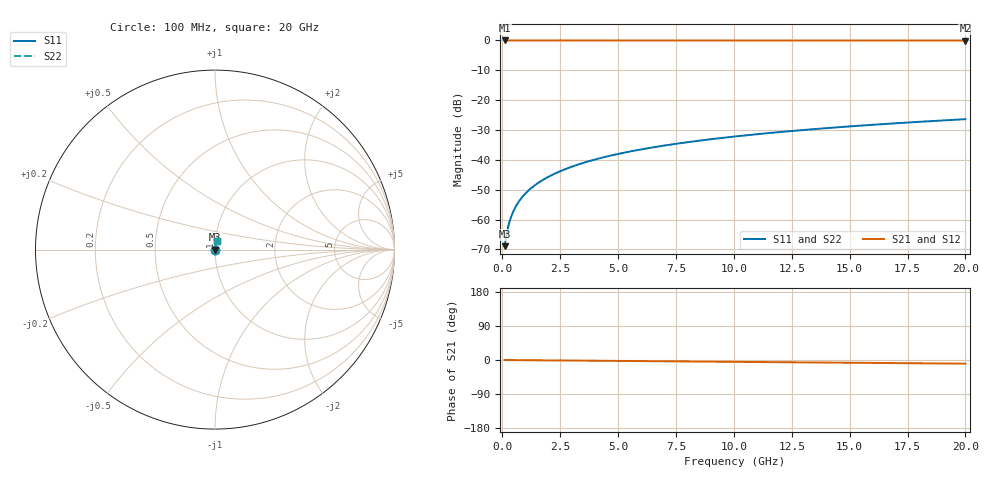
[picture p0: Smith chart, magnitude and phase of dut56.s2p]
! Touchstone file exported from HFSS 2026.1.0
!  File:  C:/ffzhzh/LocalFiles/Ansys_Project_Files/temp_train_TSV_56_1782958895_45748.aedt
!  Generated:  10:23:30 AM Jul  2, 2026
!  Design:  TSV
!  Project:  temp_train_TSV_56_1782958895_45748
! Variables:
!  h_bsmrdl = 2um
!  h_ox = 20um
!  h_rdl = 5um
!  h_sub = 92.37um
!  h_tmrdl = 5um
!  h_tsv = 92.37um
!  h_via = 3um
!  l_bsmrdl = 300um
!  l_sub = 415.48um
!  l_tmrdl = 200um
!  m_sub = 200um
!  pitch = 46.11um
!  r_tsv = 7.74um
!  s_tmrdl = 10um
!  w_bsmrdl = 18um
!  w_sub = 500um
!  w_tmrdl = 12um
!  x_tsv_center1 = 206um
!  x_tsv_center2 = 524um
!  x_tsv_center3 = 736um
!  x_tsv_center4 = 1054um
!  x_tsv_center5 = 1266um
!  x_tsv_center6 = 1584um
# GHz S MA R 50.000000
! Terminal data exported
! Port[1] = TSV1_1_T1
! Port[2] = TSV1_1_T2
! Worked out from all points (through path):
!   200 points, 100 MHz to 20 GHz, reference 50 ohm
!   highest |S21| = 0.00 dB at 100 MHz (marker M1); lowest = 0.0 dB at 20 GHz (marker M2)
!   group delay of S21, straight-line fit = 1.33 ps
!   lowest |S11| = -68.9 dB at 100 MHz (marker M3), VSWR 1.00, Z = 50 + j0.0289 ohm
!   |S11| at or under -10 dB: start of sweep to end of sweep
!   |S22| runs from -68.9 to -26.4 dB; largest |S21 - S12| = 4.7e-15
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0.1  0.0003583 53.7  0.9998 -0.1  0.9998 -0.1  0.0003583 53.7
! Gamma 0 0 0 0
! Port Impedance 50 0 50 0
0.2  0.0006176 68.8  0.9998 -0.1  0.9998 -0.1  0.0006176 68.8
0.3  0.000892 74.3  0.9998 -0.2  0.9998 -0.2  0.000892 74.3
0.4  0.001167 76.9  0.9997 -0.2  0.9997 -0.2  0.001167 76.9
0.5  0.001439 78.3  0.9997 -0.3  0.9997 -0.3  0.001439 78.3
0.6  0.001706 79.2  0.9997 -0.3  0.9997 -0.3  0.001706 79.2
0.7  0.00197 79.9  0.9997 -0.4  0.9997 -0.4  0.00197 79.9
0.8  0.002229 80.3  0.9996 -0.4  0.9996 -0.4  0.002229 80.3
1  0.00274 81.0  0.9996 -0.5  0.9996 -0.5  0.00274 81.0
1.4  0.00374 82.0  0.9995 -0.7  0.9995 -0.7  0.00374 82.0
1.7  0.004483 82.5  0.9995 -0.8  0.9995 -0.8  0.004483 82.5
2  0.005223 82.9  0.9994 -1.0  0.9994 -1.0  0.005223 82.9
2.7  0.006945 83.4  0.9993 -1.3  0.9993 -1.3  0.006945 83.4
3.5  0.008907 83.7  0.9992 -1.7  0.9992 -1.7  0.008907 83.7
4.2  0.01061 83.7  0.9992 -2.0  0.9992 -2.0  0.01061 83.7
5  0.01256 83.7  0.9991 -2.4  0.9991 -2.4  0.01256 83.7
6.8  0.01689 83.3  0.9989 -3.3  0.9989 -3.3  0.01689 83.3
8.3  0.02048 82.9  0.9987 -4.0  0.9987 -4.0  0.02048 82.9
10.1  0.02477 82.3  0.9985 -4.9  0.9985 -4.9  0.02477 82.3
13.4  0.03258 81.1  0.9981 -6.5  0.9981 -6.5  0.03258 81.1
16.7  0.04033 79.7  0.9976 -8.0  0.9976 -8.0  0.04033 79.7
20  0.048 78.3  0.9971 -9.6  0.9971 -9.6  0.048 78.3
